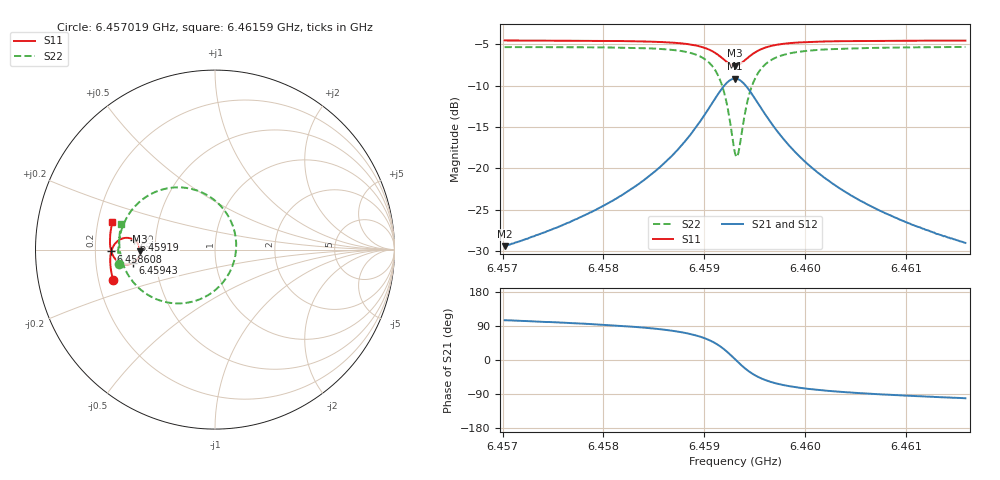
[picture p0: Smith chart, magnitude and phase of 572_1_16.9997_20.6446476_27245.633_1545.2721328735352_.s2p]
#  HZ  S  RI  R  50.00
! Rohde & Schwarz Vector Network Analyzer
! Rohde-Schwarz,ZNB20-2Port,1311601062101988,3.16
! Created: UTC 3/20/2024, 11:17:45 PM
! freq[Hz]  re:S11  im:S11  re:S21  im:S21  re:S12  im:S12  re:S22  im:S22
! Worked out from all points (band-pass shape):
!   401 points, 6.457019 GHz to 6.46159 GHz, reference 50 ohm
!   highest |S21| = -9.16 dB at 6.459305 GHz (marker M1); lowest = -29.4 dB at 6.457019 GHz (marker M2)
!   |S21| within 3 dB of the highest: 6.459077 GHz to 6.459533 GHz (456.7 kHz wide, 0.00707 % of centre)
!   lowest |S11| = -7.6 dB at 6.459305 GHz (marker M3), VSWR 2.43, Z = 20.6 - j0.43 ohm
!   |S11| at or under -10 dB: nowhere
!   |S22| runs from -18.6 to -5.3 dB; largest |S21 - S12| = 0.014
!   S11 on the Smith chart (normalised r, x): 6.457019 GHz: 0.26, -0.14; 6.458608 GHz: 0.27, -0.01; 6.45919 GHz: 0.37, +0.05; 6.45943 GHz: 0.37, -0.07; 6.46159 GHz: 0.26, +0.12
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6.4570192e9  -0.5676 -0.169  -0.00867 0.0327  -0.00697 0.0328  -0.5338 -0.0809
6.4577849e9  -0.5811 -0.1019  -0.00543 0.0509  -0.00282 0.0502  -0.5385 0.00908
6.4581963e9  -0.5838 -0.0605  0.000406 0.0697  0.00377 0.0684  -0.5303 0.0746
6.4585505e9  -0.5798 -0.0182  0.0149 0.0994  0.0188 0.0966  -0.5038 0.1545
6.4586076e9  -0.5779 -0.0103  0.0192 0.1064  0.0233 0.1033  -0.4955 0.1712
6.4588133e9  -0.5647 0.0219  0.047 0.1388  0.0511 0.1338  -0.4431 0.244
6.4589619e9  -0.5418 0.048  0.0927 0.1694  0.0959 0.1626  -0.3587 0.3086
6.459099e9  -0.4979 0.0655  0.1806 0.1857  0.1815 0.1783  -0.1979 0.3467
6.4591904e9  -0.453 0.0549  0.271 0.1541  0.2714 0.1481  -0.0301 0.2952
6.459259e9  -0.4236 0.0227  0.3317 0.0814  0.334 0.0761  0.0859 0.1642
6.4593047e9  -0.4168 -0.00864  0.3482 0.0129  0.3519 0.0059  0.1181 0.0356
6.4593161e9  -0.4173 -0.0168  0.3479 -0.00507  0.3518 -0.0127  0.1176 0.00167
6.459339e9  -0.4208 -0.0325  0.3422 -0.04  0.3461 -0.0491  0.106 -0.0648
6.4593847e9  -0.4365 -0.0588  0.3132 -0.1003  0.3154 -0.1124  0.0471 -0.1789
6.4594304e9  -0.4588 -0.0752  0.2705 -0.1416  0.2697 -0.1551  -0.0392 -0.2543
6.4595218e9  -0.5025 -0.0821  0.1848 -0.1726  0.1787 -0.1844  -0.21 -0.2999
6.4596704e9  -0.5467 -0.0615  0.0963 -0.1584  0.0877 -0.1645  -0.3789 -0.2492
6.4598304e9  -0.5683 -0.0338  0.0513 -0.13  0.0435 -0.1326  -0.4598 -0.1759
6.4600703e9  -0.581 0.00182  0.0222 -0.098  0.0161 -0.0986  -0.5079 -0.0929
6.4604132e9  -0.5855 0.0428  0.00599 -0.071  0.00196 -0.0705  -0.529 -0.0132
6.460836e9  -0.5834 0.0854  -0.00156 -0.0522  -0.00448 -0.0514  -0.5329 0.0551
6.4615902e9  -0.5713 0.1523  -0.00671 -0.0348  -0.00844 -0.0338  -0.5214 0.1448
